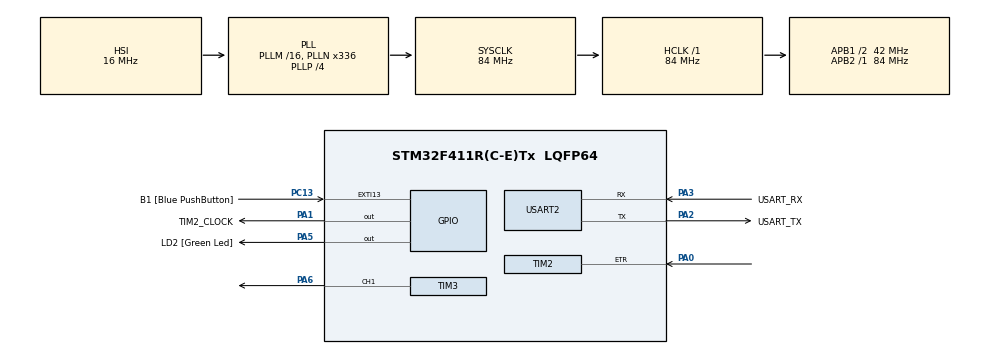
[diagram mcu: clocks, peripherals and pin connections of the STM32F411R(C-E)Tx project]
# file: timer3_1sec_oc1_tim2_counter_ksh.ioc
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Mcu.Family=STM32F4
Mcu.Name=STM32F411R(C-E)Tx
Mcu.Package=LQFP64
NVIC.PriorityGroup=NVIC_PRIORITYGROUP_0
NVIC.TIM3_IRQn=true\:0\:0\:false\:false\:true\:true\:true\:true
NVIC.TIM4_IRQn=true\:0\:0\:false\:false\:true\:true\:true\:true
PA0-WKUP.Signal=S_TIM2_CH1_ETR
PA1.GPIO_Label=TIM2_CLOCK
PA1.Signal=GPIO_Output
PA13.GPIO_Label=TMS
PA13.Mode=Serial_Wire
PA13.Signal=SYS_JTMS-SWDIO
PA14.GPIO_Label=TCK
PA14.Mode=Serial_Wire
PA14.Signal=SYS_JTCK-SWCLK
PA2.GPIO_Label=USART_TX
PA2.Mode=Asynchronous
PA2.Signal=USART2_TX
PA3.GPIO_Label=USART_RX
PA3.Mode=Asynchronous
PA3.Signal=USART2_RX
PA5.GPIO_Label=LD2 [Green Led]
PA5.Signal=GPIO_Output
PA6.Signal=S_TIM3_CH1
PB3.GPIO_Label=SWO
PB3.Signal=SYS_JTDO-SWO
PC13-ANTI_TAMP.GPIO_Label=B1 [Blue PushButton]
PC13-ANTI_TAMP.GPIO_ModeDefaultEXTI=GPIO_MODE_IT_FALLING
PC13-ANTI_TAMP.Signal=GPXTI13
PC14-OSC32_IN.Signal=RCC_OSC32_IN
PC15-OSC32_OUT.Signal=RCC_OSC32_OUT
PH0\ -\ OSC_IN.Signal=RCC_OSC_IN
PH1\ -\ OSC_OUT.Signal=RCC_OSC_OUT
ProjectManager.HeapSize=0x200
ProjectManager.StackSize=0x400
ProjectManager.TargetToolchain=STM32CubeIDE
RCC.48MHZClocksFreq_Value=84000000
RCC.AHBFreq_Value=84000000
RCC.APB1CLKDivider=RCC_HCLK_DIV2
RCC.APB1Freq_Value=42000000
RCC.APB1TimFreq_Value=84000000
RCC.APB2Freq_Value=84000000
RCC.APB2TimFreq_Value=84000000
RCC.CortexFreq_Value=84000000
RCC.FLatency-AdvancedSettings=FLASH_LATENCY_2
RCC.HCLKFreq_Value=84000000
RCC.HSE_VALUE=8000000
RCC.HSI_VALUE=16000000
RCC.LSE_VALUE=32768
RCC.PLLN=336
RCC.PLLP=RCC_PLLP_DIV4
RCC.SYSCLKFreq_VALUE=84000000
RCC.SYSCLKSource=RCC_SYSCLKSOURCE_PLLCLK
RCC.VCOOutputFreq_Value=336000000
SH.S_TIM2_CH1_ETR.0=TIM2_ETR,ClockSourceETR_Mode2
SH.S_TIM3_CH1.0=TIM3_CH1,Output Compare1 CH1
TIM3.AutoReloadPreload=TIM_AUTORELOAD_PRELOAD_ENABLE
TIM3.Channel-Output\ Compare1\ CH1=TIM_CHANNEL_1
TIM3.OCMode_1=TIM_OCMODE_TOGGLE
TIM3.Period=10000-1
TIM3.Prescaler=8400-1
TIM3.Pulse-Output\ Compare1\ CH1=5000-1
TIM4.AutoReloadPreload=TIM_AUTORELOAD_PRELOAD_ENABLE
TIM4.Period=1000-1
TIM4.Prescaler=84-1
USART2.VirtualMode=VM_ASYNC
VP_TIM10_VS_ClockSourceINT.Mode=Enable_Timer
VP_TIM3_VS_ClockSourceINT.Mode=Internal
VP_TIM4_VS_ClockSourceINT.Mode=Internal
board=NUCLEO-F411RE

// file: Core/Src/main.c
/* USER CODE BEGIN Header */
/**
  ******************************************************************************
  * @file           : main.c
  * @brief          : Main program body
  ******************************************************************************
  * @attention
  *
  * Copyright (c) 2025 STMicroelectronics.
  * All rights reserved.
  *
  * This software is licensed under terms that can be found in the LICENSE file
  * in the root directory of this software component.
  * If no LICENSE file comes with this software, it is provided AS-IS.
  *
  ******************************************************************************
  */
/* USER CODE END Header */
#include "main.h"

/* USER CODE BEGIN Includes */
#include <stdio.h>
/* USER CODE END Includes */

/* USER CODE BEGIN PD */
#ifdef __GNUC__
/* With GCC, small printf (option LD Linker->Libraries->Small printf
   set to 'Yes') calls __io_putchar() */
#define PUTCHAR_PROTOTYPE int __io_putchar(int ch)
#else
#define PUTCHAR_PROTOTYPE int fputc(int ch, FILE *f)
#endif /* __GNUC__ */
/* USER CODE END PD */

TIM_HandleTypeDef htim2;
TIM_HandleTypeDef htim3;
TIM_HandleTypeDef htim4;
TIM_HandleTypeDef htim10;

UART_HandleTypeDef huart2;

/* USER CODE BEGIN PV */
volatile int time3SecFlag = 0;
volatile unsigned int time3SecCnt=0;			//1sec
volatile int time4MsFlag = 0;
volatile unsigned int time4MsCnt=0;				//1ms
/* USER CODE END PV */

void SystemClock_Config(void);
static void MX_GPIO_Init(void);
static void MX_USART2_UART_Init(void);
static void MX_TIM3_Init(void);
static void MX_TIM2_Init(void);
static void MX_TIM10_Init(void);
static void MX_TIM4_Init(void);

int main(void)
{

  /* MCU Configuration--------------------------------------------------------*/

  /* Reset of all peripherals, Initializes the Flash interface and the Systick. */
  HAL_Init();

  /* Configure the system clock */
  SystemClock_Config();

  /* Initialize all configured peripherals */
  MX_GPIO_Init();
  MX_USART2_UART_Init();
  MX_TIM3_Init();
  MX_TIM2_Init();
  MX_TIM10_Init();
  MX_TIM4_Init();
  /* USER CODE BEGIN 2 */
  printf("start main()!!\r\n");
  if(HAL_TIM_Base_Start_IT(&htim3) != HAL_OK)
	  Error_Handler();
  if(HAL_TIM_OC_Start_IT(&htim3,TIM_CHANNEL_1) != HAL_OK)
	  Error_Handler();
  if(HAL_TIM_Base_Start(&htim2) != HAL_OK)
	  Error_Handler();
  if(HAL_TIM_Base_Start_IT(&htim4) != HAL_OK)
	  Error_Handler();
  /* USER CODE END 2 */

  /* Infinite loop */
  /* USER CODE BEGIN WHILE */
  while (1)
  {
//	  HAL_GPIO_TogglePin(LD2_GPIO_Port,LD2_Pin);
//	  HAL_Delay(1000);

	  if(time3SecFlag)
	  {
//		  HAL_GPIO_TogglePin(LD2_GPIO_Port,LD2_Pin);
		  time3SecFlag = 0;
		  printf("time3SecCnt : %d\r\n",time3SecCnt);
		  printf("timer2 counter : %lu\r\n",TIM2->CNT); //50 증가
	  }
	  if(time4MsFlag)
	  {
		  if(!(time4MsCnt%10))	//10ms 마다
			  HAL_GPIO_TogglePin(TIM2_CLOCK_GPIO_Port,TIM2_CLOCK_Pin);
		  time4MsFlag = 0;
	  }
    /* USER CODE END WHILE */

  }
}

void SystemClock_Config(void)
{
  RCC_OscInitTypeDef RCC_OscInitStruct = {0};
  RCC_ClkInitTypeDef RCC_ClkInitStruct = {0};

  /** Configure the main internal regulator output voltage
  */
  __HAL_RCC_PWR_CLK_ENABLE();
  __HAL_PWR_VOLTAGESCALING_CONFIG(PWR_REGULATOR_VOLTAGE_SCALE1);

  /** Initializes the RCC Oscillators according to the specified parameters
  * in the RCC_OscInitTypeDef structure.
  */
  RCC_OscInitStruct.OscillatorType = RCC_OSCILLATORTYPE_HSI;
  RCC_OscInitStruct.HSIState = RCC_HSI_ON;
  RCC_OscInitStruct.HSICalibrationValue = RCC_HSICALIBRATION_DEFAULT;
  RCC_OscInitStruct.PLL.PLLState = RCC_PLL_ON;
  RCC_OscInitStruct.PLL.PLLSource = RCC_PLLSOURCE_HSI;
  RCC_OscInitStruct.PLL.PLLM = 16;
  RCC_OscInitStruct.PLL.PLLN = 336;
  RCC_OscInitStruct.PLL.PLLP = RCC_PLLP_DIV4;
  RCC_OscInitStruct.PLL.PLLQ = 4;
  if (HAL_RCC_OscConfig(&RCC_OscInitStruct) != HAL_OK)
  {
    Error_Handler();
  }

  /** Initializes the CPU, AHB and APB buses clocks
  */
  RCC_ClkInitStruct.ClockType = RCC_CLOCKTYPE_HCLK|RCC_CLOCKTYPE_SYSCLK
                              |RCC_CLOCKTYPE_PCLK1|RCC_CLOCKTYPE_PCLK2;
  RCC_ClkInitStruct.SYSCLKSource = RCC_SYSCLKSOURCE_PLLCLK;
  RCC_ClkInitStruct.AHBCLKDivider = RCC_SYSCLK_DIV1;
  RCC_ClkInitStruct.APB1CLKDivider = RCC_HCLK_DIV2;
  RCC_ClkInitStruct.APB2CLKDivider = RCC_HCLK_DIV1;

  if (HAL_RCC_ClockConfig(&RCC_ClkInitStruct, FLASH_LATENCY_2) != HAL_OK)
  {
    Error_Handler();
  }
}

static void MX_TIM2_Init(void)
{

  TIM_ClockConfigTypeDef sClockSourceConfig = {0};
  TIM_MasterConfigTypeDef sMasterConfig = {0};

  htim2.Instance = TIM2;
  htim2.Init.Prescaler = 0;
  htim2.Init.CounterMode = TIM_COUNTERMODE_UP;
  htim2.Init.Period = 4294967295;
  htim2.Init.ClockDivision = TIM_CLOCKDIVISION_DIV1;
  htim2.Init.AutoReloadPreload = TIM_AUTORELOAD_PRELOAD_DISABLE;
  if (HAL_TIM_Base_Init(&htim2) != HAL_OK)
  {
    Error_Handler();
  }
  sClockSourceConfig.ClockSource = TIM_CLOCKSOURCE_ETRMODE2;
  sClockSourceConfig.ClockPolarity = TIM_CLOCKPOLARITY_NONINVERTED;
  sClockSourceConfig.ClockPrescaler = TIM_CLOCKPRESCALER_DIV1;
  sClockSourceConfig.ClockFilter = 0;
  if (HAL_TIM_ConfigClockSource(&htim2, &sClockSourceConfig) != HAL_OK)
  {
    Error_Handler();
  }
  sMasterConfig.MasterOutputTrigger = TIM_TRGO_RESET;
  sMasterConfig.MasterSlaveMode = TIM_MASTERSLAVEMODE_DISABLE;
  if (HAL_TIMEx_MasterConfigSynchronization(&htim2, &sMasterConfig) != HAL_OK)
  {
    Error_Handler();
  }

}

static void MX_TIM3_Init(void)
{

  TIM_ClockConfigTypeDef sClockSourceConfig = {0};
  TIM_MasterConfigTypeDef sMasterConfig = {0};
  TIM_OC_InitTypeDef sConfigOC = {0};

  htim3.Instance = TIM3;
  htim3.Init.Prescaler = 8400-1;
  htim3.Init.CounterMode = TIM_COUNTERMODE_UP;
  htim3.Init.Period = 10000-1;
  htim3.Init.ClockDivision = TIM_CLOCKDIVISION_DIV1;
  htim3.Init.AutoReloadPreload = TIM_AUTORELOAD_PRELOAD_ENABLE;
  if (HAL_TIM_Base_Init(&htim3) != HAL_OK)
  {
    Error_Handler();
  }
  sClockSourceConfig.ClockSource = TIM_CLOCKSOURCE_INTERNAL;
  if (HAL_TIM_ConfigClockSource(&htim3, &sClockSourceConfig) != HAL_OK)
  {
    Error_Handler();
  }
  if (HAL_TIM_OC_Init(&htim3) != HAL_OK)
  {
    Error_Handler();
  }
  sMasterConfig.MasterOutputTrigger = TIM_TRGO_RESET;
  sMasterConfig.MasterSlaveMode = TIM_MASTERSLAVEMODE_DISABLE;
  if (HAL_TIMEx_MasterConfigSynchronization(&htim3, &sMasterConfig) != HAL_OK)
  {
    Error_Handler();
  }
  sConfigOC.OCMode = TIM_OCMODE_TOGGLE;
  sConfigOC.Pulse = 5000-1;
  sConfigOC.OCPolarity = TIM_OCPOLARITY_HIGH;
  sConfigOC.OCFastMode = TIM_OCFAST_DISABLE;
  if (HAL_TIM_OC_ConfigChannel(&htim3, &sConfigOC, TIM_CHANNEL_1) != HAL_OK)
  {
    Error_Handler();
  }
  HAL_TIM_MspPostInit(&htim3);

}

static void MX_TIM4_Init(void)
{

  TIM_ClockConfigTypeDef sClockSourceConfig = {0};
  TIM_MasterConfigTypeDef sMasterConfig = {0};

  htim4.Instance = TIM4;
  htim4.Init.Prescaler = 84-1;
  htim4.Init.CounterMode = TIM_COUNTERMODE_UP;
  htim4.Init.Period = 1000-1;
  htim4.Init.ClockDivision = TIM_CLOCKDIVISION_DIV1;
  htim4.Init.AutoReloadPreload = TIM_AUTORELOAD_PRELOAD_ENABLE;
  if (HAL_TIM_Base_Init(&htim4) != HAL_OK)
  {
    Error_Handler();
  }
  sClockSourceConfig.ClockSource = TIM_CLOCKSOURCE_INTERNAL;
  if (HAL_TIM_ConfigClockSource(&htim4, &sClockSourceConfig) != HAL_OK)
  {
    Error_Handler();
  }
  sMasterConfig.MasterOutputTrigger = TIM_TRGO_RESET;
  sMasterConfig.MasterSlaveMode = TIM_MASTERSLAVEMODE_DISABLE;
  if (HAL_TIMEx_MasterConfigSynchronization(&htim4, &sMasterConfig) != HAL_OK)
  {
    Error_Handler();
  }

}

static void MX_TIM10_Init(void)
{

  htim10.Instance = TIM10;
  htim10.Init.Prescaler = 0;
  htim10.Init.CounterMode = TIM_COUNTERMODE_UP;
  htim10.Init.Period = 65535;
  htim10.Init.ClockDivision = TIM_CLOCKDIVISION_DIV1;
  htim10.Init.AutoReloadPreload = TIM_AUTORELOAD_PRELOAD_DISABLE;
  if (HAL_TIM_Base_Init(&htim10) != HAL_OK)
  {
    Error_Handler();
  }

}

static void MX_USART2_UART_Init(void)
{

  huart2.Instance = USART2;
  huart2.Init.BaudRate = 115200;
  huart2.Init.WordLength = UART_WORDLENGTH_8B;
  huart2.Init.StopBits = UART_STOPBITS_1;
  huart2.Init.Parity = UART_PARITY_NONE;
  huart2.Init.Mode = UART_MODE_TX_RX;
  huart2.Init.HwFlowCtl = UART_HWCONTROL_NONE;
  huart2.Init.OverSampling = UART_OVERSAMPLING_16;
  if (HAL_UART_Init(&huart2) != HAL_OK)
  {
    Error_Handler();
  }

}

static void MX_GPIO_Init(void)
{
  GPIO_InitTypeDef GPIO_InitStruct = {0};

  /* GPIO Ports Clock Enable */
  __HAL_RCC_GPIOC_CLK_ENABLE();
  __HAL_RCC_GPIOH_CLK_ENABLE();
  __HAL_RCC_GPIOA_CLK_ENABLE();
  __HAL_RCC_GPIOB_CLK_ENABLE();

  /*Configure GPIO pin Output Level */
  HAL_GPIO_WritePin(GPIOA, TIM2_CLOCK_Pin|LD2_Pin, GPIO_PIN_RESET);

  /*Configure GPIO pin : B1_Pin */
  GPIO_InitStruct.Pin = B1_Pin;
  GPIO_InitStruct.Mode = GPIO_MODE_IT_FALLING;
  GPIO_InitStruct.Pull = GPIO_NOPULL;
  HAL_GPIO_Init(B1_GPIO_Port, &GPIO_InitStruct);

  /*Configure GPIO pins : TIM2_CLOCK_Pin LD2_Pin */
  GPIO_InitStruct.Pin = TIM2_CLOCK_Pin|LD2_Pin;
  GPIO_InitStruct.Mode = GPIO_MODE_OUTPUT_PP;
  GPIO_InitStruct.Pull = GPIO_NOPULL;
  GPIO_InitStruct.Speed = GPIO_SPEED_FREQ_LOW;
  HAL_GPIO_Init(GPIOA, &GPIO_InitStruct);

}

/* USER CODE BEGIN 4 */
void HAL_TIM_PeriodElapsedCallback(TIM_HandleTypeDef *htim)
{
	if(htim->Instance == TIM3)	//timer3
	{
		time3SecCnt++;				//1sec
		time3SecFlag = 1;
//		HAL_GPIO_TogglePin(LD2_GPIO_Port,LD2_Pin);
	}
	if(htim->Instance == TIM4)	//timer4
	{
		time4MsCnt++;				//1ms
		time4MsFlag = 1;
	}
}
void HAL_TIM_OC_DelayElapsedCallback(TIM_HandleTypeDef *htim)
{
	if(htim->Instance == TIM3)	//timer3
	{
		HAL_GPIO_TogglePin(LD2_GPIO_Port,LD2_Pin);
	}
}
/**
  * @brief  Retargets the C library printf function to the USART.
  * @param  None
  * @retval None
  */
PUTCHAR_PROTOTYPE
{
  /* Place your implementation of fputc here */
  /* e.g. write a character to the USART6 and Loop until the end of transmission */
  HAL_UART_Transmit(&huart2, (uint8_t *)&ch, 1, 0xFFFF);

  return ch;
}
/* USER CODE END 4 */

void Error_Handler(void)
{
  __disable_irq();
  while (1)
  {
  }
}
